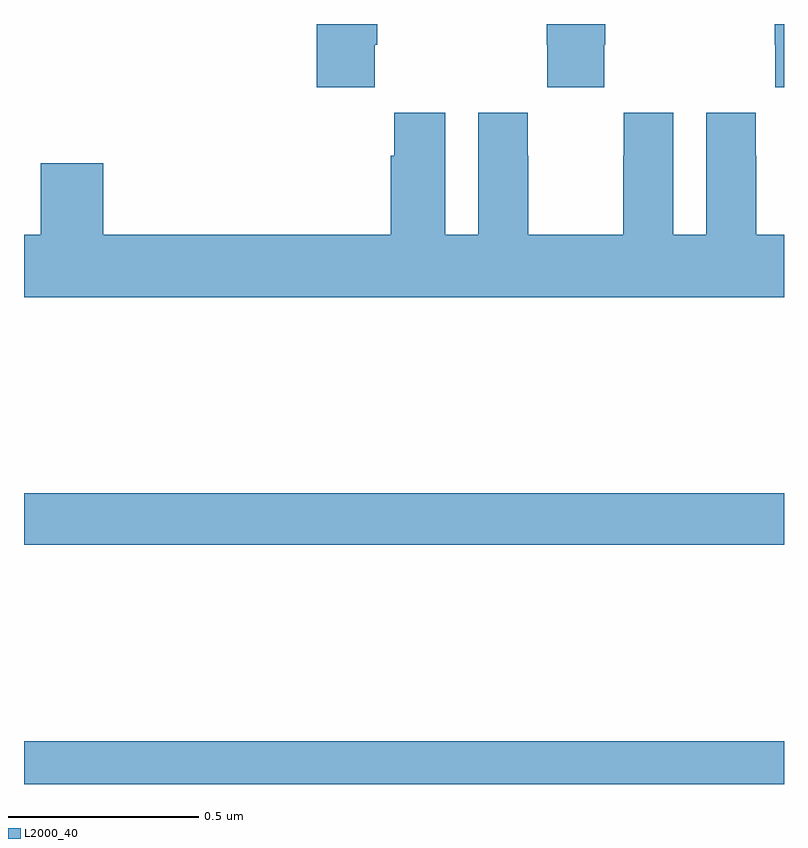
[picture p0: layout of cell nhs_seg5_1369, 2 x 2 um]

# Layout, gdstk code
import gdstk
lib = gdstk.Library(unit=1e-6, precision=1e-09)
def R(c, l, rs):  # rectangles x0, y0, x1, y1
    for r in rs: c.add(gdstk.rectangle(r[:2], r[2:], *l))
def P(c, l, *ps):  # polygons
    for p in ps: c.add(gdstk.Polygon(p, *l))
L2000_40 = (2000, 40)

nhs_seg5_1369 = lib.new_cell('nhs_seg5_1369')
R(nhs_seg5_1369, L2000_40, [(129,868.799,131,868.912), (129,869.428,131,869.564)])
P(nhs_seg5_1369, L2000_40, [(129.923,870.745),(129.93,870.745),(129.93,870.799),(129.77,870.799),(129.77,870.633),(129.923,870.633)],
  [(130.527,870.745),(130.53,870.745),(130.53,870.799),(130.375,870.799),(130.375,870.745),(130.377,870.745),(130.377,870.633),(130.527,870.633)],
  [(131,870.799),(130.975,870.799),(130.975,870.745),(130.977,870.745),(130.977,870.633),(131,870.633)],
  [(131,870.244),(130.927,870.244),(130.927,870.452),(130.926,870.452),(130.926,870.565),(130.796,870.565),(130.796,870.244),(130.708,870.244),(130.708,870.565),(130.578,870.565),(130.578,870.452),(130.577,870.452),(130.577,870.244),(130.327,870.244),(130.327,870.452),(130.326,870.452),(130.326,870.565),(130.196,870.565),(130.196,870.244),(130.108,870.244),(130.108,870.565),(129.974,870.565),(129.974,870.452),(129.965,870.452),(129.965,870.244),(129.208,870.244),(129.208,870.433),(129.044,870.433),(129.044,870.244),(129,870.244),(129,870.08),(131,870.08)])

lib.write_gds('nhs_seg5_1369.gds')
